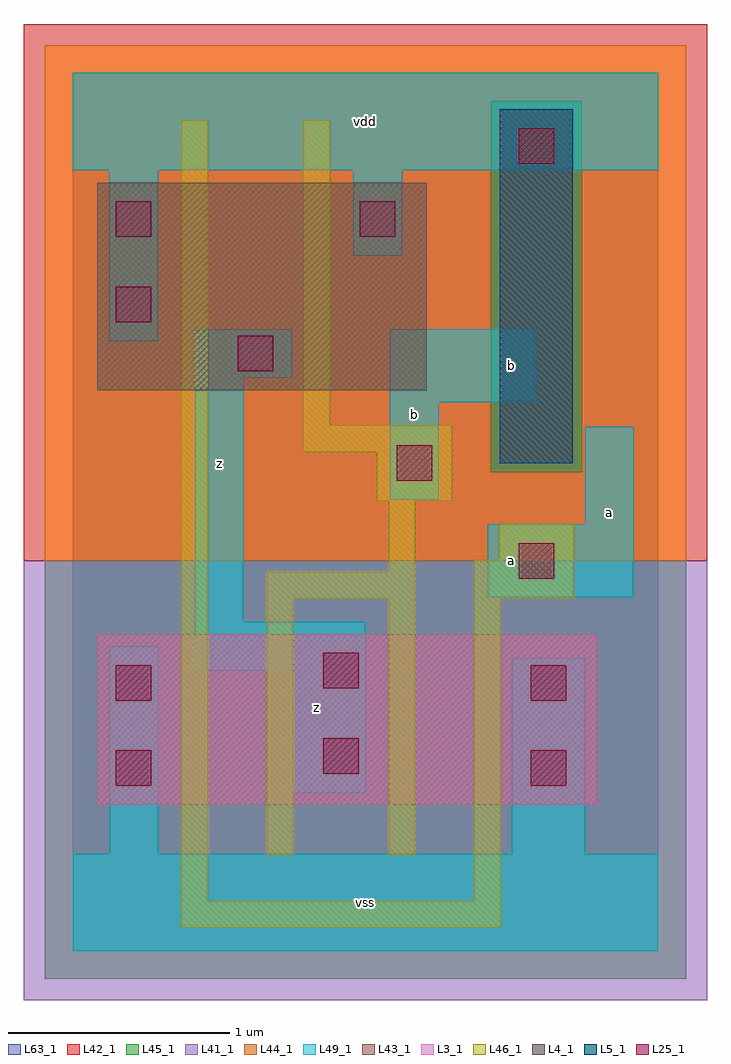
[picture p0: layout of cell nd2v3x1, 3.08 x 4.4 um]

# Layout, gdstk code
import gdstk
lib = gdstk.Library(unit=1e-6, precision=1e-09)
def R(c, l, rs):  # rectangles x0, y0, x1, y1
    for r in rs: c.add(gdstk.rectangle(r[:2], r[2:], *l))
L3_1 = (3, 1)
L4_1 = (4, 1)
L5_1 = (5, 1)
L25_1 = (25, 1)
L41_1 = (41, 1)
L42_1 = (42, 1)
L43_1 = (43, 1)
L44_1 = (44, 1)
L45_1 = (45, 1)
L46_1 = (46, 1)
L49_1 = (49, 1)
L63_1 = (63, 1)

nd2v3x1 = lib.new_cell('nd2v3x1')
R(nd2v3x1, L3_1, [(0.11,0.66,2.365,1.43)])
R(nd2v3x1, L4_1, [(0.11,2.53,1.595,3.465)])
R(nd2v3x1, L5_1, [(1.925,2.2,2.255,3.795)])
R(nd2v3x1, L25_1, [(0.195,0.745,0.355,0.905), (2.065,0.745,2.225,0.905), (1.13,0.8,1.29,0.96), (0.195,1.13,0.355,1.29), (2.065,1.13,2.225,1.29), (1.13,1.185,1.29,1.345), (2.01,1.68,2.17,1.84), (1.46,2.12,1.62,2.28), (0.745,2.615,0.905,2.775), (0.195,2.835,0.355,2.995), (0.195,3.22,0.355,3.38), (1.295,3.22,1.455,3.38), (2.01,3.55,2.17,3.71)])
R(nd2v3x1, L41_1, [(-0.22,-0.22,2.86,1.76)])
R(nd2v3x1, L42_1, [(-0.22,1.76,2.86,4.18)])
R(nd2v3x1, L43_1, [(0.11,0.66,2.365,1.43), (1.925,2.2,2.255,3.795), (0.11,2.53,1.595,3.465)])
R(nd2v3x1, L44_1, [(-0.125,1.76,2.765,2.16), (-0.125,2.16,1.885,3.835), (2.295,2.16,2.765,3.835), (-0.125,3.835,2.765,4.085)])
R(nd2v3x1, L45_1, [(-0.125,-0.125,2.765,1.76), (1.885,2.16,2.295,3.835)])
R(nd2v3x1, L46_1, [(0.49,0.105,1.93,0.225), (0.49,0.225,0.61,3.745), (1.81,0.225,1.93,1.59), (0.875,0.435,0.995,1.59), (1.425,0.435,1.545,1.59), (0.875,1.59,1.545,1.71), (1.81,1.59,2.26,1.765), (1.425,1.71,1.545,2.03), (1.92,1.765,2.26,1.93), (1.37,2.03,1.71,2.25), (1.04,2.25,1.71,2.37), (1.04,2.37,1.16,3.745)])
R(nd2v3x1, L49_1, [(0,0,2.64,0.44), (0.165,0.44,0.385,1.375), (1.98,0.44,2.31,1.32), (0.99,0.715,1.32,1.265), (0.55,1.265,1.32,1.485), (0.55,1.485,0.77,2.585), (1.87,1.595,2.53,1.925), (2.31,1.925,2.53,2.365), (1.43,2.035,1.65,2.475), (1.43,2.475,2.09,2.805), (0.55,2.585,0.99,2.805), (0.165,2.75,0.385,3.52), (1.265,3.135,1.485,3.52), (0,3.52,2.64,3.96)])
R(nd2v3x1, L63_1, [(0,0,2.64,3.96)])
nd2v3x1.add(gdstk.Label('z', (1.1,1.1), layer=49, texttype=1))
nd2v3x1.add(gdstk.Label('z', (0.66,2.2), layer=49, texttype=1))
nd2v3x1.add(gdstk.Label('vss', (1.32,0.22), layer=49, texttype=1))
nd2v3x1.add(gdstk.Label('b', (1.54,2.42), layer=49, texttype=1))
nd2v3x1.add(gdstk.Label('vdd', (1.32,3.74), layer=49, texttype=1))
nd2v3x1.add(gdstk.Label('a', (1.98,1.76), layer=49, texttype=1))
nd2v3x1.add(gdstk.Label('a', (2.42,1.98), layer=49, texttype=1))
nd2v3x1.add(gdstk.Label('b', (1.98,2.64), layer=49, texttype=1))

lib.write_gds('nd2v3x1.gds')
